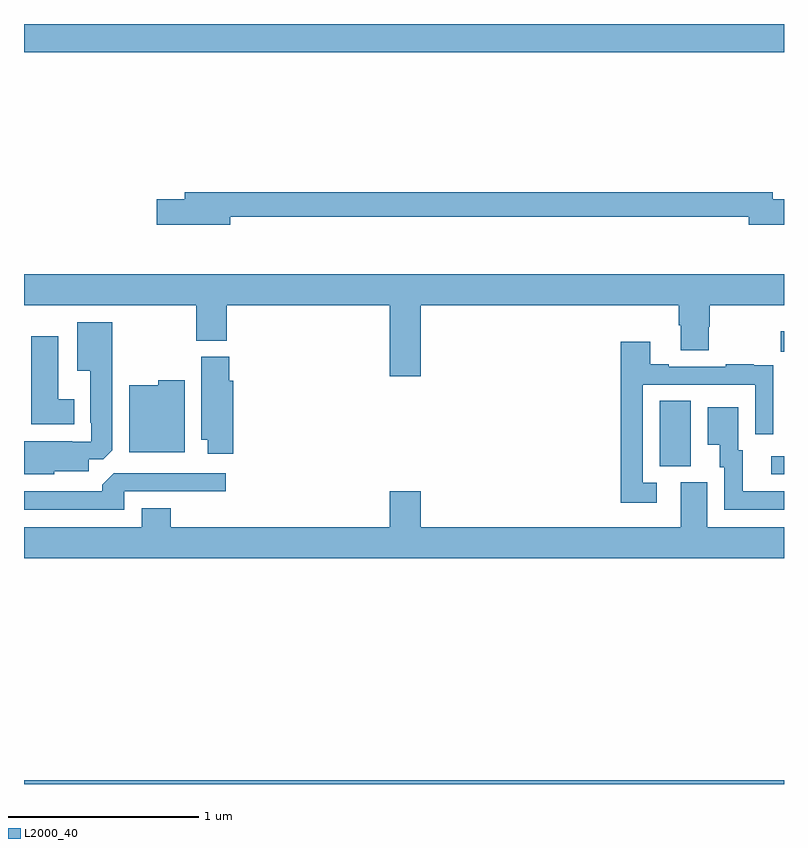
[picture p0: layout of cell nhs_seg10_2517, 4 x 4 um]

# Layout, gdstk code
import gdstk
lib = gdstk.Library(unit=1e-6, precision=1e-09)
def R(c, l, rs):  # rectangles x0, y0, x1, y1
    for r in rs: c.add(gdstk.rectangle(r[:2], r[2:], *l))
def P(c, l, *ps):  # polygons
    for p in ps: c.add(gdstk.Polygon(p, *l))
L2000_40 = (2000, 40)

nhs_seg10_2517 = lib.new_cell('nhs_seg10_2517')
R(nhs_seg10_2517, L2000_40, [(247,1260.5,251,1260.52), (250.932,1262.13,251,1262.226), (250.346,1262.173,250.51,1262.516), (250.983,1262.774,251,1262.884), (247,1264.352,251,1264.5)])
P(nhs_seg10_2517, L2000_40, [(248.086,1263.486),(250.814,1263.486),(250.814,1263.443),(251,1263.443),(251,1263.578),(250.942,1263.578),(250.942,1263.614),(247.847,1263.614),(247.847,1263.578),(247.698,1263.578),(247.698,1263.443),(248.086,1263.443)],
  [(249.088,1263.02),(250.445,1263.02),(250.445,1262.914),(250.457,1262.914),(250.457,1262.782),(250.605,1262.782),(250.605,1262.907),(250.61,1262.907),(250.61,1263.02),(251,1263.02),(251,1263.184),(247,1263.184),(247,1263.02),(247.906,1263.02),(247.906,1262.833),(248.066,1262.833),(248.066,1263.02),(248.924,1263.02),(248.924,1262.646),(249.088,1262.646)],
  [(247.158,1262.147),(247.342,1262.147),(247.342,1262.208),(247.416,1262.208),(247.465,1262.257),(247.465,1262.929),(247.28,1262.929),(247.28,1262.675),(247.349,1262.675),(247.349,1262.401),(247.353,1262.401),(247.353,1262.301),(247.253,1262.301),(247.253,1262.305),(247,1262.305),(247,1262.129),(247.158,1262.129)],
  [(247.264,1262.524),(247.18,1262.524),(247.18,1262.857),(247.037,1262.857),(247.037,1262.393),(247.264,1262.393)],
  [(250.33,1262.085),(250.257,1262.085),(250.257,1262.601),(250.848,1262.601),(250.848,1262.34),(250.944,1262.34),(250.944,1262.594),(250.943,1262.594),(250.943,1262.703),(250.841,1262.703),(250.841,1262.71),(250.693,1262.71),(250.693,1262.697),(250.393,1262.697),(250.393,1262.71),(250.297,1262.71),(250.297,1262.827),(250.141,1262.827),(250.141,1261.98),(250.33,1261.98)],
  [(248.102,1262.622),(248.081,1262.622),(248.081,1262.748),(247.934,1262.748),(247.934,1262.312),(247.967,1262.312),(247.967,1262.238),(248.102,1262.238)],
  [(247.846,1262.626),(247.707,1262.626),(247.707,1262.599),(247.553,1262.599),(247.553,1262.246),(247.846,1262.246)],
  [(251,1262.04),(250.783,1262.04),(250.783,1262.256),(250.759,1262.256),(250.759,1262.482),(250.598,1262.482),(250.598,1262.285),(250.661,1262.285),(250.661,1262.166),(250.686,1262.166),(250.686,1261.944),(251,1261.944)],
  [(247.527,1262.04),(248.062,1262.04),(248.062,1262.136),(247.473,1262.136),(247.412,1262.074),(247.412,1262.04),(247,1262.04),(247,1261.944),(247.527,1261.944)],
  [(251,1261.852),(250.597,1261.852),(250.597,1262.088),(250.457,1262.088),(250.457,1261.852),(249.088,1261.852),(249.088,1262.041),(248.924,1262.041),(248.924,1261.852),(247.772,1261.852),(247.772,1261.951),(247.619,1261.951),(247.619,1261.852),(247,1261.852),(247,1261.688),(251,1261.688)])

lib.write_gds('nhs_seg10_2517.gds')
